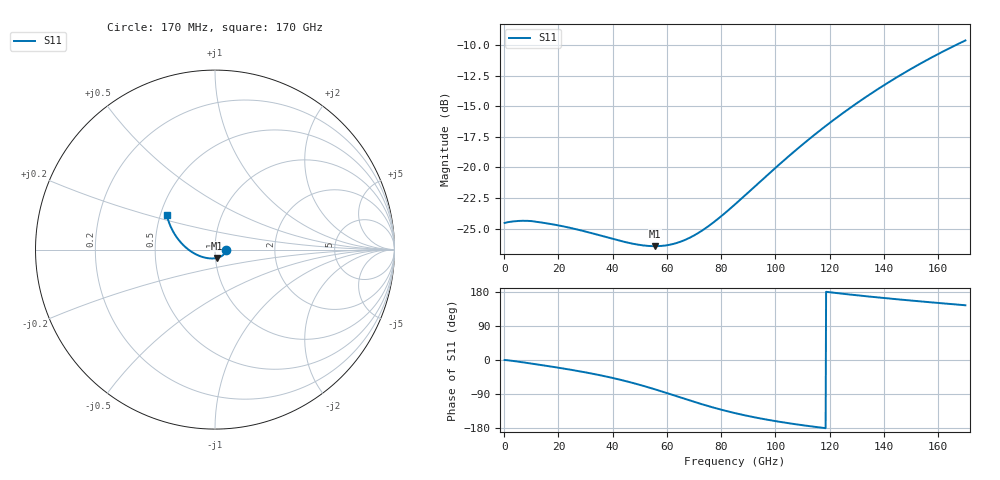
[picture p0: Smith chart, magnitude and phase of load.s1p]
! Touchstone file exported from HFSS 2024.2.0
!  File:  C:/Users/nathan/Desktop/Ansys_HFSS/OnWaferCal-Standards-2p5umM9.aedt
!  Generated:  11:37:39 PM May 21, 2025
!  Design:  1_load_hybrid
!  Project:  OnWaferCal-Standards-2p5umM9
!  Setup:  sim_dc170
!  Solution:  broad
! Variables:
!  IMD10A_h = 0.06um
!  IMD10B_h = 0.6um
!  IMD10C_h = 0.17um
!  IMD10D_h = 0.712um
!  IMD11A_h = 0.06um
!  IMD11B_h = 0.53um
!  IMD11C_h = 0.2um
!  IMD11D_h = 3.2um
!  IMD1A_h = 0.02um
!  IMD1B_h = 0.045um
!  IMD2t7A_h = 0.025um
!  IMD2t7B_h = 0.065um
!  IMD2t7C_h = 0.09um
!  Passivation1_h = 0.07um
!  Passivation2_h = 0.7um
!  Passivation3_h = 0.4um
!  Passivation4_h = 0.5um
!  landingpad_g_cut = 50um
!  landingpad_m8width_half = 0.2um
!  landingpad_m9transient_length = 55um
!  landingpad_transient_length = 45um
!  landingpad_transition_width_half = 0.26um
!  landingpad_width_half = 1.25um
!  load_x = 50ohm
!  p1P9M1A1U_x = 0um
!  p1P9M1A1U_y = 0um
!  w1P9M1A1U_x = 255um
!  w1P9M1A1U_y = 335um
# GHz S MA R 50.000000
! Terminal data exported
! Port[1] = 1
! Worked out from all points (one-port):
!   1000 points, 170 MHz to 170 GHz, reference 50 ohm
!   lowest |S11| = -26.4 dB at 55.59 GHz (marker M1), VSWR 1.10, Z = 50.8 - j4.74 ohm
!   |S11| at or under -10 dB: start of sweep to 166.4 GHz
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0.17  0.05932 -0.0
! Gamma 0 0
! Port Impedance 50 0
4.93  0.06042 -4.0
9.18  0.06046 -8.5
14.96  0.05929 -14.7
21.42  0.05756 -22.0
29.24  0.05499 -31.7
42.67  0.05017 -51.9
49.81  0.04826 -65.2
52.87  0.04781 -71.5
55.59  0.04768 -77.4
59.84  0.04806 -87.0
63.92  0.04926 -96.4
66.13  0.05028 -101.5
68.51  0.05169 -107.0
70.89  0.05344 -112.3
73.27  0.05552 -117.5
78.54  0.06131 -128.3
85.17  0.07079 -140.3
96.05  0.09104 -156.4
106.42  0.115 -168.5
111.86  0.1291 -173.9
117.13  0.1438 -178.8
127.67  0.1757 172.6
138.21  0.2107 164.8
148.92  0.2491 157.6
160.31  0.2923 150.3
167.45  0.3205 146.0
170  0.3306 144.4
